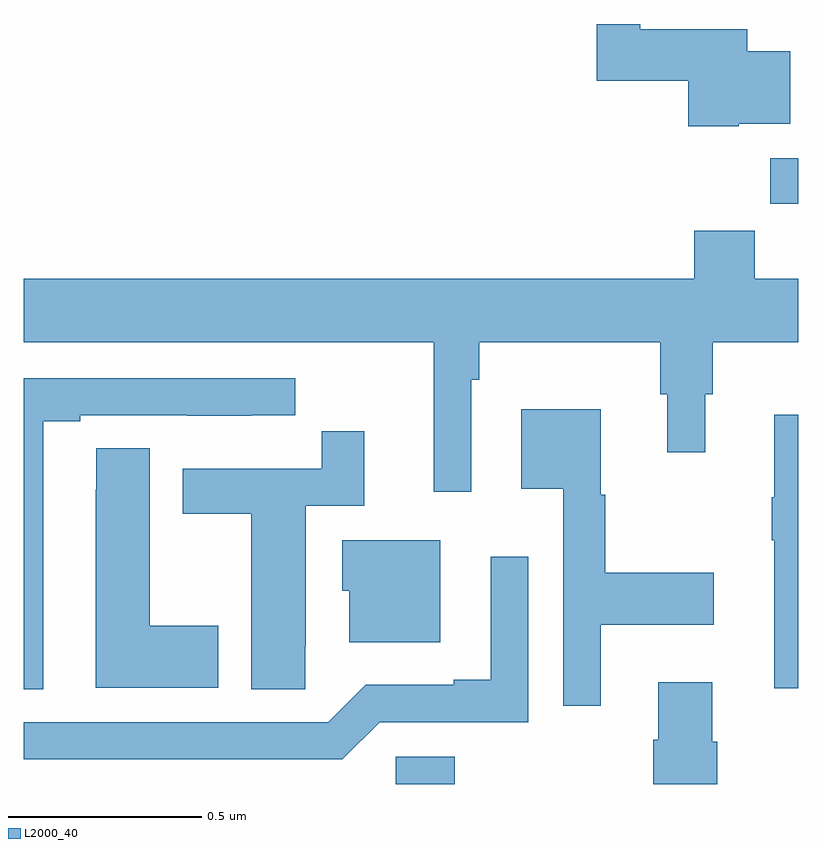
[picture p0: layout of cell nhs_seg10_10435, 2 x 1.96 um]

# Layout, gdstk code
import gdstk
lib = gdstk.Library(unit=1e-6, precision=1e-09)
def R(c, l, rs):  # rectangles x0, y0, x1, y1
    for r in rs: c.add(gdstk.rectangle(r[:2], r[2:], *l))
def P(c, l, *ps):  # polygons
    for p in ps: c.add(gdstk.Polygon(p, *l))
L2000_40 = (2000, 40)

nhs_seg10_10435 = lib.new_cell('nhs_seg10_10435')
R(nhs_seg10_10435, L2000_40, [(242.961,1308.5,243.113,1308.57), (243.928,1309.998,244,1310.116)])
P(nhs_seg10_10435, L2000_40, [(243.846,1310.204),(243.979,1310.204),(243.979,1310.392),(243.868,1310.392),(243.868,1310.449),(243.592,1310.449),(243.592,1310.462),(243.48,1310.462),(243.48,1310.315),(243.716,1310.315),(243.716,1310.198),(243.846,1310.198)],
  [(243.156,1309.544),(243.176,1309.544),(243.176,1309.64),(243.643,1309.64),(243.643,1309.506),(243.662,1309.506),(243.662,1309.356),(243.76,1309.356),(243.76,1309.506),(243.779,1309.506),(243.779,1309.64),(244,1309.64),(244,1309.804),(243.887,1309.804),(243.887,1309.928),(243.731,1309.928),(243.731,1309.804),(242,1309.804),(242,1309.64),(243.059,1309.64),(243.059,1309.254),(243.156,1309.254)],
  [(242.05,1309.437),(242.146,1309.437),(242.146,1309.452),(242.422,1309.452),(242.422,1309.451),(242.588,1309.451),(242.588,1309.452),(242.701,1309.452),(242.701,1309.548),(242,1309.548),(242,1308.745),(242.05,1308.745)],
  [(243.49,1308.911),(243.781,1308.911),(243.781,1309.046),(243.502,1309.046),(243.502,1309.247),(243.49,1309.247),(243.49,1309.468),(243.284,1309.468),(243.284,1309.262),(243.393,1309.262),(243.393,1308.702),(243.49,1308.702)],
  [(244,1309.453),(243.938,1309.453),(243.938,1309.24),(243.931,1309.24),(243.931,1309.129),(243.938,1309.129),(243.938,1308.747),(244,1308.747)],
  [(242.727,1308.856),(242.728,1308.856),(242.728,1309.218),(242.879,1309.218),(242.879,1309.411),(242.77,1309.411),(242.77,1309.314),(242.411,1309.314),(242.411,1309.198),(242.588,1309.198),(242.588,1308.745),(242.727,1308.745)],
  [(242.503,1308.909),(242.326,1308.909),(242.326,1309.367),(242.187,1309.367),(242.187,1309.259),(242.186,1309.259),(242.186,1308.749),(242.503,1308.749)],
  [(243.076,1309.129),(242.822,1309.129),(242.822,1308.999),(242.84,1308.999),(242.84,1308.866),(243.076,1308.866)],
  [(242.919,1308.66),(243.303,1308.66),(243.303,1309.087),(243.206,1309.087),(243.206,1308.769),(243.11,1308.769),(243.11,1308.756),(242.883,1308.756),(242.787,1308.66),(242,1308.66),(242,1308.564),(242.823,1308.564)],
  [(243.791,1308.609),(243.778,1308.609),(243.778,1308.763),(243.638,1308.763),(243.638,1308.614),(243.626,1308.614),(243.626,1308.5),(243.791,1308.5)])

lib.write_gds('nhs_seg10_10435.gds')
